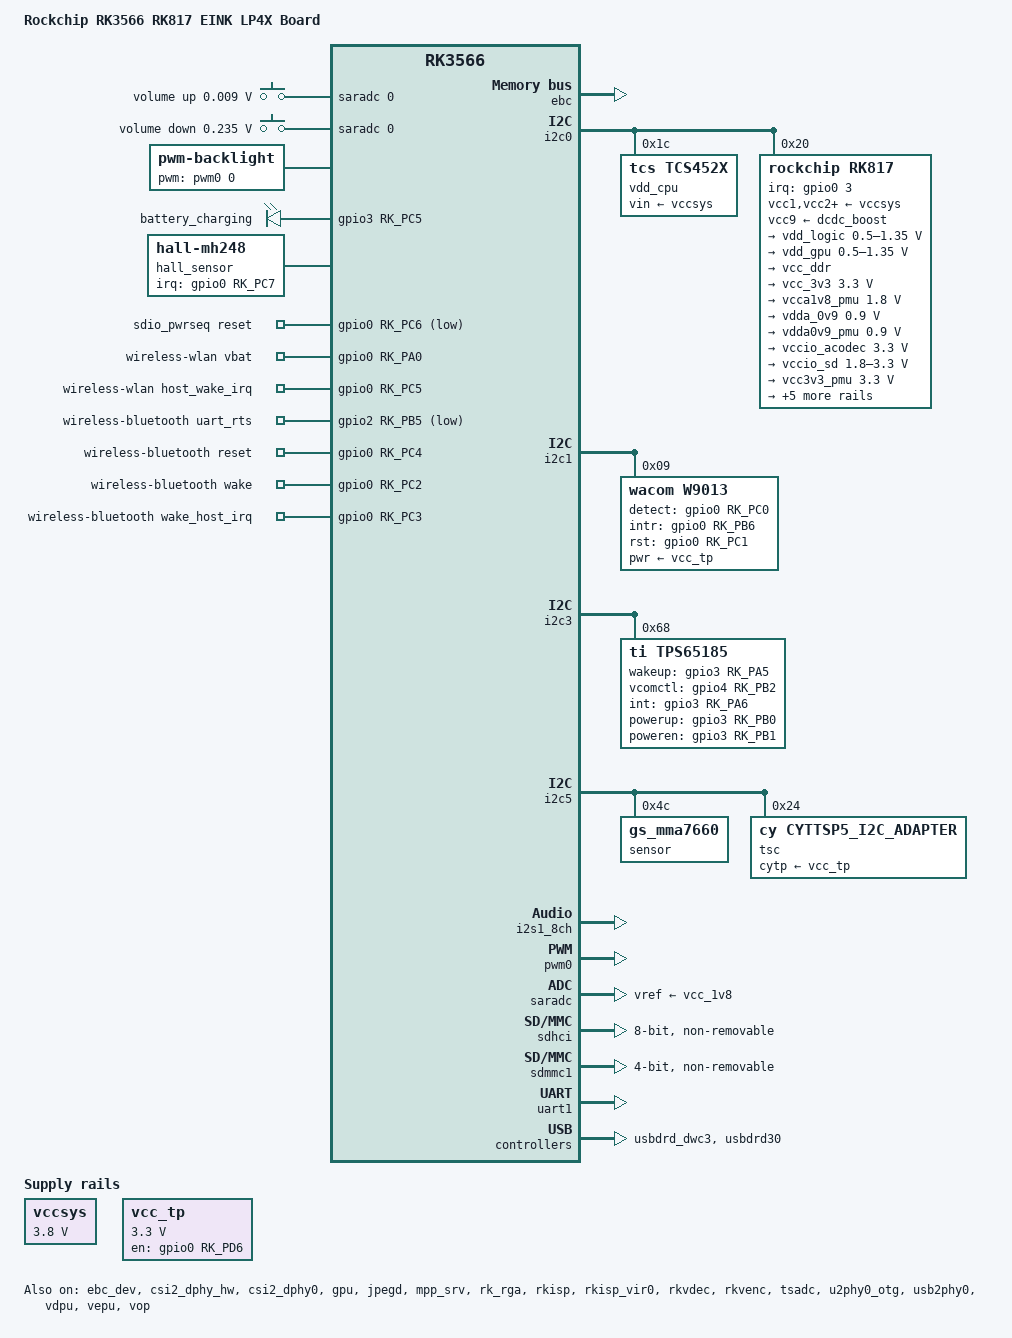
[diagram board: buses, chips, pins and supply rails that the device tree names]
// SPDX-License-Identifier: (GPL-2.0+ OR MIT)
/*
 * Copyright (c) 2020 Rockchip Electronics Co., Ltd.
 *
 */

/dts-v1/;

#include <dt-bindings/gpio/gpio.h>
#include <dt-bindings/pinctrl/rockchip.h>
#include <dt-bindings/input/rk-input.h>
#include <dt-bindings/sensor-dev.h>
#include <dt-bindings/display/drm_mipi_dsi.h>
#include "rk3566.dtsi"
#include "rk3568-android.dtsi"
#include "rk3566-eink.dtsi"

/ {
	model = "Rockchip RK3566 RK817 EINK LP4X Board";
	compatible = "rockchip,rk3566-rk817-eink", "rockchip,rk3566";

	charge-animation {
		compatible = "rockchip,uboot-charge";
		rockchip,uboot-charge-on = <1>;
		rockchip,android-charge-on = <0>;
		rockchip,uboot-low-power-voltage = <3350>;
		rockchip,screen-on-voltage = <3400>;
		rockchip,auto-wakeup-interval = <60>;
		status = "okay";
	};

	adc_keys: adc-keys {
		status = "okay";
		compatible = "adc-keys";
		io-channels = <&saradc 0>;
		io-channel-names = "buttons";
		keyup-threshold-microvolt = <1800000>;
		poll-interval = <100>;

		vol-up-key {
			label = "volume up";
			linux,code = <KEY_VOLUMEUP>;
			press-threshold-microvolt = <9000>;
		};

		vol-down-key {
			label = "volume down";
			linux,code = <KEY_VOLUMEDOWN>;
			press-threshold-microvolt = <235000>;
		};
	};

	backlight: backlight {
		compatible = "pwm-backlight";
		pwms = <&pwm0 0 25000 0>;
		brightness-levels = <
			  0  20  20  21  21  22  22  23
			 23  24  24  25  25  26  26  27
			 27  28  28  29  29  30  30  31
			 31  32  32  33  33  34  34  35
			 35  36  36  37  37  38  38  39
			 40  41  42  43  44  45  46  47
			 48  49  50  51  52  53  54  55
			 56  57  58  59  60  61  62  63
			 64  65  66  67  68  69  70  71
			 72  73  74  75  76  77  78  79
			 80  81  82  83  84  85  86  87
			 88  89  90  91  92  93  94  95
			 96  97  98  99 100 101 102 103
			104 105 106 107 108 109 110 111
			112 113 114 115 116 117 118 119
			120 121 122 123 124 125 126 127
			128 129 130 131 132 133 134 135
			136 137 138 139 140 141 142 143
			144 145 146 147 148 149 150 151
			152 153 154 155 156 157 158 159
			160 161 162 163 164 165 166 167
			168 169 170 171 172 173 174 175
			176 177 178 179 180 181 182 183
			184 185 186 187 188 189 190 191
			192 193 194 195 196 197 198 199
			200 201 202 203 204 205 206 207
			208 209 210 211 212 213 214 215
			216 217 218 219 220 221 222 223
			224 225 226 227 228 229 230 231
			232 233 234 235 236 237 238 239
			240 241 242 243 244 245 246 247
			248 249 250 251 252 253 254 255
		>;
		default-brightness-level = <200>;
	};

	gpio_keys: gpio-keys {
		status = "disabled";
		compatible = "gpio-keys";
		autorepeat;

		BACK {
			label = "GPIO Key Home";
			debounce-interval = <10>;
			interrupt-parent = <&gpio0>;
			interrupts = <13 IRQ_TYPE_LEVEL_LOW>;
			linux,input-type = <EV_KEY>;
			linux,code = <KEY_BACK>;
		};
	};

	hdmi_sound: hdmi-sound {
		compatible = "simple-audio-card";
		simple-audio-card,format = "i2s";
		simple-audio-card,mclk-fs = <128>;
		simple-audio-card,name = "rockchip,hdmi";
		status = "disabled";

		simple-audio-card,cpu {
				sound-dai = <&i2s0_8ch>;
		};
		simple-audio-card,codec {
				sound-dai = <&hdmi>;
		};
	};

	leds: gpio-leds {
		compatible = "gpio-leds";

		led@2 {
			gpios = <&gpio3 RK_PC5 GPIO_ACTIVE_HIGH>;
			linux,default-trigger = "battery-charging";
			label = "battery_charging";
			retain-state-suspended;
		};
	};

	hall_sensor: hall-mh248 {
		compatible = "hall-mh248";
		irq-gpio = <&gpio0 RK_PC7 IRQ_TYPE_EDGE_BOTH>;
		hall-active = <1>;
		status = "okay";
	};

	vccsys: vccsys {
		compatible = "regulator-fixed";
		regulator-name = "vcc3v8_sys";
		regulator-always-on;
		regulator-boot-on;
		regulator-min-microvolt = <3800000>;
		regulator-max-microvolt = <3800000>;
	};

	vcc_tp: vcc-tp-regulator {
		compatible = "regulator-fixed";
		enable-active-high;
		gpio = <&gpio0 RK_PD6 GPIO_ACTIVE_HIGH>;
		pinctrl-names = "default";
		pinctrl-0 = <&vcc_tp_en>;
		regulator-name = "vcc_tp";
		regulator-boot-on;
		startup-delay-us = <10000>;
		regulator-min-microvolt = <3300000>;
		regulator-max-microvolt = <3300000>;
	};

	rk817-sound {
		compatible = "simple-audio-card";
		simple-audio-card,format = "i2s";
		simple-audio-card,name = "rockchip,rk817-codec";
		simple-audio-card,mclk-fs = <256>;

		simple-audio-card,cpu {
			sound-dai = <&i2s1_8ch>;
		};
		simple-audio-card,codec {
			sound-dai = <&rk817_codec>;
		};
	};

	sdio_pwrseq: sdio-pwrseq {
		compatible = "mmc-pwrseq-simple";
		clocks = <&rk817 1>;
		clock-names = "ext_clock";
		pinctrl-names = "default";
		pinctrl-0 = <&wifi_enable_h>;

		/*
		 * On the module itself this is one of these (depending
		 * on the actual card populated):
		 * - SDIO_RESET_L_WL_REG_ON
		 * - PDN (power down when low)
		 */
		post-power-on-delay-ms = <200>;
		reset-gpios = <&gpio0 RK_PC6 GPIO_ACTIVE_LOW>;
	};

	wireless-wlan {
		compatible = "wlan-platdata";
		rockchip,grf = <&grf>;
		wifi_chip_type = "ap6255";
		pinctrl-names = "default";
		pinctrl-0 = <&wifi_vbat &wifi_host_wake_irq>;
		WIFI,vbat_gpio = <&gpio0 RK_PA0 GPIO_ACTIVE_HIGH>;
		WIFI,host_wake_irq = <&gpio0 RK_PC5 GPIO_ACTIVE_HIGH>;
		status = "okay";
	};

	wireless-bluetooth {
		compatible = "bluetooth-platdata";
		clocks = <&rk817 1>;
		clock-names = "ext_clock";
		wifi-bt-power-toggle;
		uart_rts_gpios = <&gpio2 RK_PB5 GPIO_ACTIVE_LOW>;
		pinctrl-names = "default", "rts_gpio";
		pinctrl-0 = <&uart1m0_rtsn>,
			    <&bt_reset_gpio>,
			    <&bt_wake_gpio>,
			    <&bt_irq_gpio>;
		pinctrl-1 = <&uart1_gpios>;
		BT,reset_gpio    = <&gpio0 RK_PC4 GPIO_ACTIVE_HIGH>;
		BT,wake_gpio     = <&gpio0 RK_PC2 GPIO_ACTIVE_HIGH>;
		BT,wake_host_irq = <&gpio0 RK_PC3 GPIO_ACTIVE_HIGH>;
		status = "okay";
	};
};

&ebc {
	/* clock rate 1000M/n, (n=1~32) */
	assigned-clocks = <&cru CPLL_333M>, <&cru DCLK_EBC>;
	//assigned-clock-rates = <340000000>, <340000000>;
	assigned-clock-rates = <250000000>, <250000000>;
	status = "okay";
};

&ebc_dev {
	pmic = <&tps65185>;
	status = "okay";
#if 0
	/* ED097TC2U1 */
	panel,width = <1200>;
	panel,height = <825>;
	panel,vir_width = <1200>;
	panel,vir_height = <825>;
	panel,sdck = <25000000>;
	panel,lsl = <4>;
	panel,lbl = <4>;
	panel,ldl = <300>;
	panel,lel = <36>;
	panel,gdck-sta = <18>;
	panel,lgonl = <265>;
	panel,fsl = <2>;
	panel,fbl = <4>;
	panel,fdl = <825>;
	panel,fel = <24>;
	panel,mirror = <0>;
	panel,panel_16bit = <0>;
	panel,panel_color = <0>;
	panel,width-mm = <203>;
	panel,height-mm = <140>;
#endif
#if 1
	/* ES103TC1 */
	panel,width = <1872>;
	panel,height = <1404>;
	panel,vir_width = <1872>;
	panel,vir_height = <1404>;
	panel,sdck = <33300000>;
	panel,lsl = <18>;
	panel,lbl = <17>;
	panel,ldl = <234>;
	panel,lel = <7>;
	panel,gdck-sta = <34>;
	panel,lgonl = <192>;
	panel,fsl = <1>;
	panel,fbl = <4>;
	panel,fdl = <1404>;
	panel,fel = <12>;
	panel,mirror = <0>;
	panel,panel_16bit = <1>;
	panel,panel_color = <0>;
	panel,width-mm = <157>;
	panel,height-mm = <210>;
#endif
#if 0
	/* ES133TC1 */
	panel,width = <2200>;
	panel,height = <1650>;
	panel,vir_width = <2208>;
	panel,vir_height = <1650>;
	panel,sdck = <37500000>;
	panel,lsl = <4>;
	panel,lbl = <8>;
	panel,ldl = <275>;
	panel,lel = <14>;
	panel,gdck-sta = <34>;
	panel,lgonl = <217>;
	panel,fsl = <1>;
	panel,fbl = <4>;
	panel,fdl = <1650>;
	panel,fel = <6>;
	panel,mirror = <0>;
	panel,panel_16bit = <1>;
	panel,panel_color = <0>;
	panel,width-mm = <157>;
	panel,height-mm = <210>;
#endif
};

&cpu0 {
	cpu-supply = <&vdd_cpu>;
};

&csi2_dphy_hw {
	status = "okay";
};

&csi2_dphy0 {
	status = "okay";

	ports {
		#address-cells = <1>;
		#size-cells = <0>;
		port@0 {
			reg = <0>;
			#address-cells = <1>;
			#size-cells = <0>;

			mipi_in_ucam0: endpoint@0 {
				reg = <0>;
				/*remote-endpoint = <&ov5648_out>;*/
				data-lanes = <1 2>;
			};
		};
		port@1 {
			reg = <1>;
			#address-cells = <1>;
			#size-cells = <0>;

			csidphy0_out: endpoint@0 {
				reg = <0>;
				remote-endpoint = <&isp0_in>;
			};
		};
	};
};

&gpu {
	mali-supply = <&vdd_gpu>;
	status = "okay";
};

&hdmi {
	status = "disabled";
};

&hdmi_in_vp0 {
	status = "disabled";
};

&hdmi_in_vp1 {
	status = "disabled";
};

&hdmi_sound {
	status = "disabled";
};

&i2c0 {
	status = "okay";

	vdd_cpu: tcs4525@1c {
		compatible = "tcs,tcs452x";
		reg = <0x1c>;
		vin-supply = <&vccsys>;
		regulator-compatible = "fan53555-reg";
		regulator-name = "vdd_cpu";
		regulator-min-microvolt = <712500>;
		regulator-max-microvolt = <1390000>;
		regulator-init-microvolt = <900000>;
		regulator-ramp-delay = <2300>;
		fcs,suspend-voltage-selector = <0>;
		regulator-initial-mode = <0x2>;
		regulator-boot-on;
		regulator-always-on;
		regulator-state-mem {
			regulator-on-in-suspend;
			regulator-suspend-microvolt = <1100000>;
			regulator-changeable-in-suspend;
		};
	};

	rk817: pmic@20 {
		compatible = "rockchip,rk817";
		reg = <0x20>;
		interrupt-parent = <&gpio0>;
		interrupts = <3 IRQ_TYPE_LEVEL_LOW>;

		pinctrl-names = "default";
//		pinctrl-names = "default", "pmic-sleep",
//				"pmic-power-off", "pmic-reset";
		pinctrl-0 = <&pmic_int>;
//		pinctrl-1 = <&soc_slppin_slp>, <&rk817_slppin_slp>;
//		pinctrl-2 = <&soc_slppin_gpio>, <&rk817_slppin_pwrdn>;
//		pinctrl-3 = <&soc_slppin_gpio>, <&rk817_slppin_rst>;
		rockchip,system-power-controller;
		wakeup-source;
		#clock-cells = <1>;
		clock-output-names = "rk808-clkout1", "rk808-clkout2";
		//fb-inner-reg-idxs = <2>;
		/* 1: rst regs (default in codes), 0: rst the pmic */
		pmic-reset-func = <0>;
		/* not save the PMIC_POWER_EN register in uboot */
		not-save-power-en = <1>;
		vcc1-supply = <&vccsys>;
		vcc2-supply = <&vccsys>;
		vcc3-supply = <&vccsys>;
		vcc4-supply = <&vccsys>;
		vcc5-supply = <&vccsys>;
		vcc6-supply = <&vccsys>;
		vcc7-supply = <&vccsys>;
		vcc8-supply = <&vccsys>;
		vcc9-supply = <&dcdc_boost>;

		pwrkey {
			status = "okay";
		};

		pinctrl_rk8xx: pinctrl_rk8xx {
			gpio-controller;
			#gpio-cells = <2>;

			rk817_slppin_null: rk817_slppin_null {
				pins = "gpio_slp";
				function = "pin_fun0";
			};

			rk817_slppin_slp: rk817_slppin_slp {
				pins = "gpio_slp";
				function = "pin_fun1";
			};

			rk817_slppin_pwrdn: rk817_slppin_pwrdn {
				pins = "gpio_slp";
				function = "pin_fun2";
			};

			rk817_slppin_rst: rk817_slppin_rst {
				pins = "gpio_slp";
				function = "pin_fun3";
			};
		};

		regulators {
			vdd_logic: DCDC_REG1 {
				regulator-always-on;
				regulator-boot-on;
				regulator-min-microvolt = <500000>;
				regulator-max-microvolt = <1350000>;
				regulator-init-microvolt = <900000>;
				regulator-ramp-delay = <6001>;
				regulator-initial-mode = <0x2>;
				regulator-name = "vdd_logic";
				regulator-state-mem {
					regulator-off-in-suspend;
					regulator-suspend-microvolt = <900000>;
					regulator-changeable-in-suspend;
				};
			};

			vdd_gpu: DCDC_REG2 {
				regulator-always-on;
				regulator-boot-on;
				regulator-min-microvolt = <500000>;
				regulator-max-microvolt = <1350000>;
				regulator-init-microvolt = <900000>;
				regulator-ramp-delay = <6001>;
				regulator-initial-mode = <0x2>;
				regulator-name = "vdd_gpu";
					regulator-state-mem {
					regulator-off-in-suspend;
					regulator-changeable-in-suspend;
				};
			};

			vcc_ddr: DCDC_REG3 {
				regulator-always-on;
				regulator-boot-on;
				regulator-initial-mode = <0x2>;
				regulator-name = "vcc_ddr";
				regulator-state-mem {
					regulator-on-in-suspend;
				};
			};

			vcc_3v3: DCDC_REG4 {
				regulator-always-on;
				regulator-boot-on;
				regulator-min-microvolt = <3300000>;
				regulator-max-microvolt = <3300000>;
				regulator-initial-mode = <0x2>;
				regulator-name = "vcc_3v3";
				regulator-state-mem {
					regulator-off-in-suspend;
					regulator-changeable-in-suspend;
				};
			};

			vcca1v8_pmu: LDO_REG1 {
				regulator-always-on;
				regulator-boot-on;
				regulator-min-microvolt = <1800000>;
				regulator-max-microvolt = <1800000>;
				regulator-name = "vcca1v8_pmu";
				regulator-state-mem {
					regulator-on-in-suspend;
					regulator-suspend-microvolt = <1800000>;
					regulator-changeable-in-suspend;
				};
			};

			vdda_0v9: LDO_REG2 {
				regulator-always-on;
				regulator-boot-on;
				regulator-min-microvolt = <900000>;
				regulator-max-microvolt = <900000>;
				regulator-name = "vdda_0v9";
				regulator-state-mem {
					regulator-off-in-suspend;
					regulator-changeable-in-suspend;
				};
			};

			vdda0v9_pmu: LDO_REG3 {
				regulator-always-on;
				regulator-boot-on;
				regulator-min-microvolt = <900000>;
				regulator-max-microvolt = <900000>;
				regulator-name = "vdda0v9_pmu";
				regulator-state-mem {
					regulator-on-in-suspend;
					regulator-suspend-microvolt = <900000>;
					regulator-changeable-in-suspend;
				};
			};

			vccio_acodec: LDO_REG4 {
				regulator-always-on;
				regulator-boot-on;
				regulator-min-microvolt = <3300000>;
				regulator-max-microvolt = <3300000>;
				regulator-name = "vccio_acodec";
				regulator-state-mem {
					regulator-off-in-suspend;
					regulator-changeable-in-suspend;
				};
			};

			vccio_sd: LDO_REG5 {
				regulator-min-microvolt = <1800000>;
				regulator-max-microvolt = <3300000>;
				regulator-name = "vccio_sd";
				regulator-state-mem {
					regulator-off-in-suspend;
					regulator-changeable-in-suspend;
				};
			};

			vcc3v3_pmu: LDO_REG6 {
				regulator-always-on;
				regulator-boot-on;
				regulator-min-microvolt = <3300000>;
				regulator-max-microvolt = <3300000>;
				regulator-name = "vcc3v3_pmu";
				regulator-state-mem {
					regulator-on-in-suspend;
					regulator-suspend-microvolt = <3000000>;
					regulator-changeable-in-suspend;
				};
			};

			vcc_1v8: LDO_REG7 {
				regulator-always-on;
				regulator-boot-on;
				regulator-min-microvolt = <1800000>;
				regulator-max-microvolt = <1800000>;
				regulator-name = "vcc_1v8";
				regulator-state-mem {
					regulator-off-in-suspend;
					regulator-changeable-in-suspend;
				};
			};

			vcc1v8_dvp: LDO_REG8 {
				regulator-min-microvolt = <1800000>;
				regulator-max-microvolt = <1800000>;
				regulator-name = "vcc1v8_dvp";
				regulator-state-mem {
					regulator-off-in-suspend;
					regulator-changeable-in-suspend;
				};
			};

			sleep_sta_ctl: LDO_REG9 {
				regulator-name = "sleep_sta_ctl";
				regulator-state-mem {
					regulator-on-in-suspend;
					regulator-suspend-microvolt = <3300000>;
					regulator-changeable-in-suspend;
				};
			};

			dcdc_boost: BOOST {
				regulator-always-on;
				regulator-boot-on;
				regulator-min-microvolt = <4700000>;
				regulator-max-microvolt = <5400000>;
				regulator-name = "boost";
				regulator-state-mem {
					regulator-off-in-suspend;
					regulator-changeable-in-suspend;
				};
			};

			otg_switch: OTG_SWITCH {
				regulator-name = "otg_switch";
				regulator-state-mem {
					regulator-off-in-suspend;
					regulator-changeable-in-suspend;
				};
			};
		};

		battery {
			compatible = "rk817,battery";
			ocv_table = <3400 3513 3578 3687 3734 3752 3763
				     3766 3771 3784 3804 3836 3885 3925
				     3962 4005 4063 4114 4169 4227 4303>;
			design_capacity = <4150>;
			design_qmax = <4565>;
			bat_res = <100>;
			sleep_enter_current = <150>;
			sleep_exit_current = <180>;
			sleep_filter_current = <100>;
			power_off_thresd = <3450>;
			zero_algorithm_vol = <3850>;
			max_soc_offset = <60>;
			monitor_sec = <5>;
			sample_res = <10>;
			virtual_power = <0>;
			low_power_sleep = <1>;
		};

		charger {
			compatible = "rk817,charger";
			min_input_voltage = <4500>;
			max_input_current = <1500>;
			max_chrg_current = <2000>;
			max_chrg_voltage = <4300>;
			chrg_term_mode = <0>;
			chrg_finish_cur = <300>;
			virtual_power = <0>;
			dc_det_adc = <0>;
			extcon = <&usb2phy0>;
			gate_function_disable = <1>;
		};

		rk817_codec: codec {
			#sound-dai-cells = <0>;
			compatible = "rockchip,rk817-codec";
			clocks = <&cru I2S1_MCLKOUT>;
			clock-names = "mclk";
			assigned-clocks = <&cru I2S1_MCLKOUT>, <&cru I2S1_MCLK_TX_IOE>;
			assigned-clock-rates = <12288000>;
			assigned-clock-parents = <&cru I2S1_MCLKOUT_TX>, <&cru I2S1_MCLKOUT_TX>;
			pinctrl-names = "default";
			pinctrl-0 = <&i2s1m0_mclk>;
			hp-volume = <20>;
			spk-volume = <3>;
			out-l2spk-r2hp;
			spk-ctl-gpios = <&gpio1 RK_PB1 GPIO_ACTIVE_HIGH>;
			status = "okay";
		};
	};
};

&i2c1 {
	status = "okay";

	wacom: wacom@9 {
		compatible = "wacom,w9013";
		reg = <0x09>;
		pwr-supply = <&vcc_tp>;
		pinctrl-names = "default";
		pinctrl-0 = <&wacom_gpio>;
		gpio_detect = <&gpio0 RK_PC0 GPIO_ACTIVE_HIGH>;
		gpio_intr = <&gpio0 RK_PB6 GPIO_ACTIVE_HIGH>;
		gpio_rst = <&gpio0 RK_PC1 GPIO_ACTIVE_HIGH>;
		revert_x = <0>;
		revert_y = <0>;
		xy_exchange = <0>;
	};
};

&i2c3 {
	status = "okay";
	pinctrl-names = "default";
	pinctrl-0 = <&i2c3m1_xfer>;

	tps65185: tps65185@68 {
		status = "okay";
		compatible = "ti,tps65185";
		reg = <0x68>;
		pinctrl-names = "default";
		pinctrl-0 = <&tps65185_gpio>;
		wakeup-gpios = <&gpio3 RK_PA5 GPIO_ACTIVE_HIGH>;
		vcomctl-gpios = <&gpio4 RK_PB2 GPIO_ACTIVE_HIGH>;
		int-gpios = <&gpio3 RK_PA6 GPIO_ACTIVE_HIGH>;
		powerup-gpios = <&gpio3 RK_PB0 GPIO_ACTIVE_HIGH>;
		poweren-gpios = <&gpio3 RK_PB1 GPIO_ACTIVE_HIGH>;
	};
};

&i2c4 {
	//camera
};

&i2c5 {
	status = "okay";

	sensor@4c {
		status = "okay";
		compatible = "gs_mma7660";
		reg = <0x4c>;
		type = <SENSOR_TYPE_ACCEL>;
		irq_enable = <0>;
		poll_delay_ms = <30>;
		layout = <6>;
		reprobe_en = <1>;
	};

	tsc@24 {
		status = "okay";
		compatible = "cy,cyttsp5_i2c_adapter";
		reg = <0x24>;
		cy,adapter_id = "cyttsp5_i2c_adapter";
		pinctrl-names = "default";
		pinctrl-0 = <&tsc_gpio>;
		cytp-supply = <&vcc_tp>;
		cy,core {
			cy,name = "cyttsp5_core";
			cy,irq_gpio =  <&gpio0 RK_PA6 GPIO_ACTIVE_HIGH>;
			cy,rst_gpio =  <&gpio0 RK_PA5 GPIO_ACTIVE_HIGH>;
			cy,hid_desc_register = <1>;
			/* CY_CORE_FLAG_RESTORE_PARAMETERS */
			cy,flags = <6>;
			/* CY_CORE_EWG_NONE */
			cy,easy_wakeup_gesture = <0>;
			cy,btn_keys = <172 /* KEY_HOMEPAGE */
						/* previously was KEY_HOME, new Android versions use KEY_HOMEPAGE */
						139 /* KEY_MENU */
						158 /* KEY_BACK */
						217 /* KEY_SEARCH */
						114 /* KEY_VOLUMEDOWN */
						115 /* KEY_VOLUMEUP */
						212 /* KEY_CAMERA */
						116>; /* KEY_POWER */
			cy,btn_keys-tag = <0>;
			cy,mt {
				cy,name = "cyttsp5_mt";
				cy,inp_dev_name = "cyttsp5_mt";
				cy,flags = <0xA8>;
				cy,abs =
					/* ABS_MT_POSITION_X, CY_ABS_MIN_X, CY_ABS_MAX_X, 0, 0 */
					<0x35 0 1404 0 0
					/* ABS_MT_POSITION_Y, CY_ABS_MIN_Y, CY_ABS_MAX_Y, 0, 0 */
					0x36 0 1872 0 0
					/* ABS_MT_PRESSURE, CY_ABS_MIN_P, CY_ABS_MAX_P, 0, 0 */
					0x3a 0 255 0 0
					/* CY_IGNORE_VALUE, CY_ABS_MIN_W, CY_ABS_MAX_W, 0, 0 */
					0xffff 0 255 0 0
					/* ABS_MT_TRACKING_ID, CY_ABS_MIN_T, CY_ABS_MAX_T, 0, 0 */
					0x39 0 15 0 0
					/* ABS_MT_TOUCH_MAJOR, 0, 255, 0, 0 */
					0x30 0 255 0 0
					/* ABS_MT_TOUCH_MINOR, 0, 255, 0, 0 */
					0x31 0 255 0 0
					/* ABS_MT_ORIENTATION, -127, 127, 0, 0 */
					0x34 0xffffff81 127 0 0
					/* ABS_MT_TOOL_TYPE, 0, MT_TOOL_MAX, 0, 0 */
					0x37 0 1 0 0
					/* ABS_DISTANCE, 0, 255, 0, 0 */
					0x19 0 255 0 0>;

					cy,vkeys_x = <1404>;
					cy,vkeys_y = <1872>;
					cy,revert_x = <0>;
					cy,revert_y = <0>;
					cy,xy_exchange = <0>;

					cy,virtual_keys =
						/* KeyCode CenterX CenterY Width Height */
						/* KEY_BACK */
						<158 1360 90 160 180
						/* KEY_MENU */
						139 1360 270 160 180
						/* KEY_HOMEPAGE */
						172 1360 450 160 180
						/* KEY SEARCH */
						217 1360 630 160 180>;
			};

			cy,btn {
				cy,name = "cyttsp5_btn";
				cy,inp_dev_name = "cyttsp5_btn";
			};

			cy,proximity {
				cy,name = "cyttsp5_proximity";
				cy,inp_dev_name = "cyttsp5_proximity";
				cy,abs =
			/* ABS_DISTANCE, CY_PROXIMITY_MIN_VAL, CY_PROXIMITY_MAX_VAL, 0, 0 */
					<0x19 0 1 0 0>;
			};
		};
	};
};

&i2s0_8ch {
	status = "disabled";
};

&i2s1_8ch {
	status = "okay";
	rockchip,clk-trcm = <1>;
	pinctrl-names = "default";
	pinctrl-0 = <&i2s1m0_sclktx
		     &i2s1m0_lrcktx
		     &i2s1m0_sdi0
		     &i2s1m0_sdo0>;
};

&jpegd {
	status = "okay";
};

&jpegd_mmu {
	status = "okay";
};

&video_phy0 {
	status = "disabled";
};

&mpp_srv {
	status = "okay";
};

&nandc0 {
	status = "disabled";
};

&pinctrl {
	wacom {
		wacom_gpio: wacom-gpio {
			rockchip,pins =
					<0 RK_PC0 RK_FUNC_GPIO &pcfg_pull_up>,
					<0 RK_PC1 RK_FUNC_GPIO &pcfg_pull_up>,
					<0 RK_PB6 RK_FUNC_GPIO &pcfg_pull_up>;
		};
	};

	tsc {
		tsc_gpio: tsc-gpio {
			rockchip,pins =
					<0 RK_PB5 RK_FUNC_GPIO &pcfg_pull_down>, //touch q gpio
					<0 RK_PA5 RK_FUNC_GPIO &pcfg_pull_up>,
					<0 RK_PA6 RK_FUNC_GPIO &pcfg_pull_up>;
		};
	};

	tps_pmic {
		tps65185_gpio: tps65185-gpio {
			rockchip,pins =
					<4 RK_PB2 RK_FUNC_GPIO &pcfg_pull_up>,
					<3 RK_PA5 RK_FUNC_GPIO &pcfg_pull_up>,
					<3 RK_PA6 RK_FUNC_GPIO &pcfg_pull_up>,
					<3 RK_PB0 RK_FUNC_GPIO &pcfg_pull_up>,
					<3 RK_PB1 RK_FUNC_GPIO &pcfg_pull_up>;
		};
	};

	pmic {
		pmic_int: pmic_int {
			rockchip,pins =
				<0 RK_PA3 RK_FUNC_GPIO &pcfg_pull_up>;
		};

		soc_slppin_gpio: soc_slppin_gpio {
			rockchip,pins =
				<0 RK_PA2 RK_FUNC_GPIO &pcfg_output_low>;
		};

		soc_slppin_slp: soc_slppin_slp {
			rockchip,pins =
				<0 RK_PA2 1 &pcfg_pull_none>;
		};

		soc_slppin_rst: soc_slppin_rst {
			rockchip,pins =
				<0 RK_PA2 2 &pcfg_pull_none>;
		};
	};

	sdio-pwrseq {
		wifi_enable_h: wifi-enable-h {
			rockchip,pins = <0 RK_PC6 RK_FUNC_GPIO &pcfg_pull_none>;
		};
	};

	wireless-wlan {
		wifi_vbat: wifi-vbat {
			rockchip,pins = <0 RK_PA0 RK_FUNC_GPIO &pcfg_pull_none>;
		};

		wifi_host_wake_irq: wifi-host-wake-irq {
			rockchip,pins = <0 RK_PC5 RK_FUNC_GPIO &pcfg_pull_up>;
		};
	};

	wireless-bluetooth {
		uart1_gpios: uart1-gpios {
			rockchip,pins = <2 RK_PB5 RK_FUNC_GPIO &pcfg_pull_none>;
		};

		bt_reset_gpio: bt-reset-gpio {
			rockchip,pins = <0 RK_PC4 RK_FUNC_GPIO &pcfg_pull_none>;
		};

		bt_wake_gpio: bt-wake-gpio {
			rockchip,pins = <0 RK_PC2 RK_FUNC_GPIO &pcfg_pull_none>;
		};

		bt_irq_gpio: bt-irq-gpio {
			rockchip,pins = <0 RK_PC3 RK_FUNC_GPIO &pcfg_pull_up>;
		};
	};

	vcc-tp {
		vcc_tp_en: vcc-tp-en {
			rockchip,pins = <0 RK_PD6 RK_FUNC_GPIO &pcfg_pull_none>;
		};
	};
};

&pmu_io_domains {
	status = "okay";
	pmuio1-supply = <&vcc3v3_pmu>;
	pmuio2-supply = <&vcc3v3_pmu>;
	vccio1-supply = <&vccio_acodec>;
	vccio3-supply = <&vcc_1v8>;
	vccio4-supply = <&vcca1v8_pmu>;
	vccio5-supply = <&vcc_3v3>;
	vccio6-supply = <&vcc_3v3>;
	vccio7-supply = <&vcc_1v8>;
};

&pwm0 {
	status = "okay";
};

&rk_rga {
	status = "okay";
};

&rkisp {
	status = "okay";
};

&rkisp_mmu {
	status = "okay";
};

&rkisp_vir0 {
	status = "okay";

	port {
		#address-cells = <1>;
		#size-cells = <0>;

		isp0_in: endpoint@0 {
			reg = <0>;
			remote-endpoint = <&csidphy0_out>;
		};
	};
};

&rkvdec {
	status = "okay";
};

&rkvdec_mmu {
	status = "okay";
};

&rkvenc {
	status = "okay";
};

&rkvenc_mmu {
	status = "okay";
};

&rockchip_suspend {
	status = "okay";

	rockchip,regulator-off-in-mem-lite =
		<&vdd_cpu>, <&vdd_logic>, <&vdd_gpu>, <&vcc_3v3>, <&vdda_0v9>, <&vcc_1v8>,
		<&vccio_acodec>, <&vccio_sd>, <&vcc1v8_dvp>, <&dcdc_boost>, <&otg_switch>,
		<&sleep_sta_ctl>;
	rockchip,regulator-on-in-mem-lite =
		<&vcc_ddr>, <&vdda0v9_pmu>, <&vcca1v8_pmu>, <&vcc3v3_pmu>;

	rockchip,regulator-off-in-mem =
		<&vdd_cpu>, <&vdd_logic>, <&vdd_gpu>, <&vcc_3v3>, <&vdda_0v9>, <&vcc_1v8>,
		<&vccio_acodec>, <&vccio_sd>, <&vcc1v8_dvp>, <&dcdc_boost>, <&otg_switch>,
		<&sleep_sta_ctl>;
	rockchip,regulator-on-in-mem =
		<&vcc_ddr>, <&vdda0v9_pmu>, <&vcca1v8_pmu>, <&vcc3v3_pmu>;

	rockchip,regulator-off-in-mem-ultra =
		<&vdd_logic>, <&vdd_gpu>, <&vcc_ddr>, <&vcc_3v3>, <&vdda_0v9>, <&vcc_1v8>,
		<&vdda0v9_pmu>, <&vcca1v8_pmu>, <&vcc3v3_pmu>, <&vccio_acodec>, <&vccio_sd>,
		<&vcc1v8_dvp>, <&dcdc_boost>, <&otg_switch>;
	rockchip,regulator-on-in-mem-ultra = <&vdd_cpu>, <&sleep_sta_ctl>;
};

&saradc {
	status = "okay";
	vref-supply = <&vcc_1v8>;
};

&sdhci {
	bus-width = <8>;
	no-sdio;
	no-sd;
	non-removable;
	keep-power-in-suspend;
	max-frequency = <200000000>;
	status = "okay";
};

&sdmmc1 {
	max-frequency = <150000000>;
	no-sd;
	no-mmc;
	bus-width = <4>;
	disable-wp;
	cap-sd-highspeed;
	cap-sdio-irq;
	keep-power-in-suspend;
	mmc-pwrseq = <&sdio_pwrseq>;
	non-removable;
	pinctrl-names = "default";
	pinctrl-0 = <&sdmmc1_bus4 &sdmmc1_cmd &sdmmc1_clk>;
	sd-uhs-sdr104;
	rockchip,default-sample-phase = <90>;
	status = "okay";
};

&tsadc {
	status = "okay";
};

&uart1 {
	status = "okay";
	pinctrl-names = "default";
	pinctrl-0 = <&uart1m0_xfer &uart1m0_ctsn>;
};

&u2phy0_otg {
	status = "okay";
};

&usb2phy0 {
	status = "okay";
};

&usbdrd_dwc3 {
	status = "okay";
};

&usbdrd30 {
	status = "okay";
};

&vdpu {
	status = "okay";
};

&vdpu_mmu {
	status = "okay";
};

&vepu {
	status = "okay";
};

&vepu_mmu {
	status = "okay";
};

&vop {
	status = "okay";
};

&vop_mmu {
	status = "okay";
};
